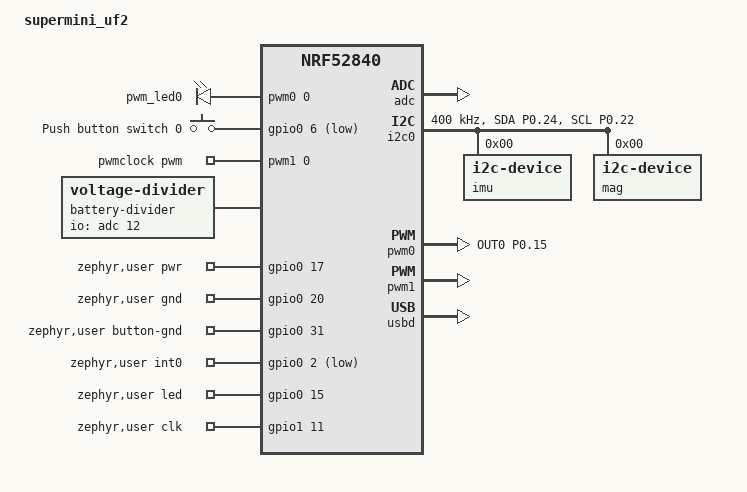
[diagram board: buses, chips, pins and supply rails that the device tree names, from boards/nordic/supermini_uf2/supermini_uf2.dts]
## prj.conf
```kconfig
#CONFIG_NCS_SAMPLES_DEFAULTS
CONFIG_ASSERT=y
CONFIG_ASSERT_NO_COND_INFO=y
CONFIG_ASSERT_NO_MSG_INFO=y
CONFIG_RESET_ON_FATAL_ERROR=y

CONFIG_NCS_APPLICATION_BOOT_BANNER_STRING="SlimeVR-Tracker-nRF"
#CONFIG_NCS_BOOT_BANNER=n
CONFIG_BOOT_BANNER=n

CONFIG_ESB=y
#need to enable for nRF54L
#CONFIG_NRFX_DPPI10=y

CONFIG_ADC=y
CONFIG_ADC_NRFX_SAADC=y
CONFIG_FPU=y
CONFIG_I2C=y
CONFIG_SPI=y
CONFIG_PINCTRL=y
CONFIG_SENSOR=y

CONFIG_CMSIS_DSP=y
CONFIG_CMSIS_DSP_BASICMATH=y
CONFIG_CMSIS_DSP_CONTROLLER=y
CONFIG_CMSIS_DSP_FASTMATH=y
CONFIG_CMSIS_DSP_SUPPORT=y

CONFIG_NVS=y
CONFIG_NVS_LOOKUP_CACHE=y
CONFIG_NVS_INIT_BAD_MEMORY_REGION=y

CONFIG_POWEROFF=y
CONFIG_REBOOT=y

CONFIG_FLASH=y
CONFIG_FLASH_PAGE_LAYOUT=y
CONFIG_FLASH_MAP=y

CONFIG_SETTINGS=y
CONFIG_SETTINGS_RUNTIME=y
CONFIG_SETTINGS_NONE=y

CONFIG_MPU_ALLOW_FLASH_WRITE=y

CONFIG_RETAINED_MEM=y

CONFIG_USE_SEGGER_RTT=y
CONFIG_LOG=y
#CONFIG_PRINTK=y
CONFIG_LOG_MODE_DEFERRED=y
CONFIG_LOG_SPEED=y
CONFIG_LOG_BACKEND_RTT=y
CONFIG_CBPRINTF_FP_SUPPORT=y
CONFIG_ADC_LOG_LEVEL_OFF=y
CONFIG_LOG_FUNC_NAME_PREFIX_ERR=y
CONFIG_LOG_BUFFER_SIZE=1536
CONFIG_LOG_BACKEND_UART_AUTOSTART=n
CONFIG_LOG_PROCESS_THREAD_SLEEP_MS=50
CONFIG_LOG_PROCESS_THREAD_STACK_SIZE=1024

CONFIG_PWM=y
CONFIG_GPIO=y

CONFIG_CRC=y

CONFIG_NEWLIB_LIBC=y
#deprecated?
#CONFIG_NRFX_TIMER1=y

#speed up boot? (use internal rc oscillator)
CONFIG_CLOCK_CONTROL_NRF_K32SRC_RC=y
CONFIG_CLOCK_CONTROL_NRF_K32SRC_RC_CALIBRATION=n
#speed up boot? (synthesize lf clock)
#CONFIG_CLOCK_CONTROL_NRF_K32SRC_SYNTH=y

# dont need it
CONFIG_CRYPTO=n

# set timeout for 25ms, sufficient for ~1000 bytes
CONFIG_I2C_NRFX_TRANSFER_TIMEOUT=25

CONFIG_USB_DEVICE_HID=y
CONFIG_USB_DEVICE_VID=0x1209
CONFIG_USB_DEVICE_PID=0x7692
CONFIG_USB_HID_BOOT_PROTOCOL=y
CONFIG_USB_DEVICE_INITIALIZE_AT_BOOT=n
CONFIG_USB_CDC_ACM=y
CONFIG_UART_INTERRUPT_DRIVEN=y
CONFIG_USB_WORKQUEUE_STACK_SIZE=512

CONFIG_SERIAL=y
CONFIG_CONSOLE=y
CONFIG_RTT_CONSOLE=y
CONFIG_UART_CONSOLE=y
CONFIG_UART_LINE_CTRL=y
# fit "write all <base64:173>"
CONFIG_CONSOLE_INPUT_MAX_LINE_LEN=256

CONFIG_LOG=y
CONFIG_USB_DRIVER_LOG_LEVEL_ERR=y
CONFIG_USB_DEVICE_LOG_LEVEL_ERR=y
CONFIG_USB_CDC_ACM_LOG_LEVEL_OFF=y

CONFIG_LOG_BACKEND_UART=y

CONFIG_CONSOLE_SUBSYS=y
CONFIG_CONSOLE_GETLINE=y

CONFIG_NVS_LOG_LEVEL_WRN=y
CONFIG_USB_HID_LOG_LEVEL_WRN=y

CONFIG_USB_DEVICE_SOF=y
CONFIG_USB_HID_REPORTS=256

#CONFIG_USB_HID_POLL_INTERVAL_MS=1
CONFIG_USB_HID_POLL_INTERVAL_MS=0
CONFIG_HID_INTERRUPT_EP_MPS=64
#CONFIG_ENABLE_HID_INT_OUT_EP=y

CONFIG_SYSTEM_WORKQUEUE_STACK_SIZE=256
CONFIG_MAIN_STACK_SIZE=512
#crashing on nrf54l at 512

CONFIG_THREAD_NAME=y

CONFIG_HEAP_MEM_POOL_SIZE=2048
CONFIG_ISR_STACK_SIZE=1024

CONFIG_PM_DEVICE=y

CONFIG_BASE64=y

#CONFIG_THREAD_ANALYZER=y
#CONFIG_THREAD_ANALYZER_AUTO=y
#CONFIG_THREAD_ANALYZER_AUTO_INTERVAL=5

#about 20KB saved
#CONFIG_LTO=y
#CONFIG_ISR_TABLES_LOCAL_DECLARATION=y
CONFIG_SENSOR_USE_MAG=n
CONFIG_USE_IMU_WAKE_UP=n
```

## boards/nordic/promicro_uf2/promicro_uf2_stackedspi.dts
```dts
// Copyright (c) 2024 Nordic Semiconductor ASA
// SPDX-License-Identifier: Apache-2.0

/dts-v1/;
#include "promicro_uf2.dts"

&pinctrl {
	spi3_default: spi3_default {
		/delete-node/ group1;
		group1 {
			psels = <NRF_PSEL(SPIM_MISO, 0, 11)>,
					<NRF_PSEL(SPIM_MOSI, 0, 24)>,
					<NRF_PSEL(SPIM_SCK, 0, 22)>;
		};
	};

	spi3_sleep: spi3_sleep {
		/delete-node/ group1;
		group1 {
			psels = <NRF_PSEL(SPIM_MISO, 0, 11)>,
					<NRF_PSEL(SPIM_MOSI, 0, 24)>,
					<NRF_PSEL(SPIM_SCK, 0, 22)>;
			low-power-enable;
		};
	};
};

/ {
	buttons {
		/delete-node/ button0;
		button0: button_0 {
			gpios = <&gpio0 29 (GPIO_PULL_DOWN | GPIO_ACTIVE_HIGH)>;
		};
	};

	aliases {
		sw0 = &button0;
	};

	zephyr,user {
		/delete-property/ int0-gpios;
		/delete-property/ vcc-gpios;
		int0-gpios = <&gpio0 2 0>;
		clk-gpios = <&gpio1 11 GPIO_OPEN_DRAIN>;
		vcc-gpios = <&gpio0 17 GPIO_OPEN_SOURCE>;
		gnd-gpios = <&gpio0 20 GPIO_OPEN_DRAIN>;
	};
};

/delete-node/ &i2c0;

&spi3 {
	/delete-property/ cs-gpios;
	cs-gpios = <&gpio1 0 GPIO_ACTIVE_LOW>;
};
```

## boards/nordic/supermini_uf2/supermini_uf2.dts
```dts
// Copyright (c) 2024 Nordic Semiconductor ASA
// SPDX-License-Identifier: Apache-2.0

/dts-v1/;
#include <nordic/nrf52840_qiaa.dtsi>

//move to dtsi?
&pinctrl {
	i2c0_default: i2c0_default {
		group1 {
			psels = <NRF_PSEL(TWIM_SDA, 0, 24)>, <NRF_PSEL(TWIM_SCL, 0, 22)>;
			bias-disable;
		};
	};

	i2c0_sleep: i2c0_sleep {
		group1 {
			psels = <NRF_PSEL(TWIM_SDA, 0, 24)>, <NRF_PSEL(TWIM_SCL, 0, 22)>;
			bias-disable;
			low-power-enable;
		};
	};

	pwm0_default: pwm0_default {
		group1 {
			psels = <NRF_PSEL(PWM_OUT0, 0, 15)>;
			nordic,drive-mode = <NRF_DRIVE_D0S1>;
		};
	};

	pwm0_sleep: pwm0_sleep {
		group1 {
			psels = <NRF_PSEL(PWM_OUT0, 0, 15)>;
			low-power-enable;
		};
	};

	pwm1_default: pwm1_default {
		group1 {
			psels = <NRF_PIN_DISCONNECTED>;
		};
	};

	pwm1_sleep: pwm1_sleep {
		group1 {
			psels = <NRF_PIN_DISCONNECTED>;
			low-power-enable;
		};
	};
};
//end

/ {
	model = "supermini_uf2";
	compatible = "supermini_uf2";

	chosen {
		zephyr,sram = &sram0;
		zephyr,flash = &flash0;
		zephyr,console = &cdc_acm_uart0;
		zephyr,shell-uart = &cdc_acm_uart0;
	};

	pwmleds {
		compatible = "pwm-leds";
		pwm_led0: pwm_led_0 {
			pwms = <&pwm0 0 PWM_MSEC(1) PWM_POLARITY_NORMAL>;
		};
	};

	buttons {
		compatible = "gpio-keys";
		button0: button_0 {
			gpios = <&gpio0 6 (GPIO_PULL_UP | GPIO_ACTIVE_LOW)>;
			label = "Push button switch 0";
		};
	};

	aliases {
		sw0 = &button0; // Uncomment to Enable SW0
		pwm-led0 = &pwm_led0;
	};

	pwmclock: pwmclock {
		compatible = "pwm-clock";
		#clock-cells = <1>;
		pwms = <&pwm1 0 PWM_HZ(32768) PWM_POLARITY_NORMAL>;
	};

	battery-divider {
		compatible = "voltage-divider";
		status = "okay";
		io-channels = <&adc 12>; // Measure VDDHDIV5
		output-ohms = <1>;
		full-ohms = <5>;
	};

	zephyr,user {
		pwr-gpios = <&gpio0 17 GPIO_OPEN_SOURCE>;
        gnd-gpios = <&gpio0 20 GPIO_OPEN_DRAIN>;
		
		button-gnd-gpios = <&gpio0 31 GPIO_OPEN_DRAIN>;

		int0-gpios = <&gpio0 2 (GPIO_ACTIVE_LOW | GPIO_PULL_UP)>;
		led-gpios = <&gpio0 15 GPIO_OPEN_SOURCE>;
		clk-gpios = <&gpio1 11 GPIO_OPEN_DRAIN>; // Uncomment and set to correct pin if using an external clock (crystal oscillator)
	};

};

&reg1 {
	regulator-initial-mode = <NRF5X_REG_MODE_DCDC>;
};

&adc {
	status = "okay";
};

&gpiote {
	status = "okay";
};

&gpio0 {
	status = "okay";
};

&gpio1 {
	status = "okay";
};

&i2c0 {
	compatible = "nordic,nrf-twim";
	status = "okay";
	zephyr,concat-buf-size = <255>; // probable max for nrf52832
	zephyr,flash-buf-max-size = <255>; // probable max for nrf52832
	clock-frequency = <I2C_BITRATE_FAST>;
	pinctrl-0 = <&i2c0_default>;
	pinctrl-1 = <&i2c0_sleep>;
	pinctrl-names = "default", "sleep";

	imu: imu@0 { // any address out of range (00, 7f, etc. will search all addresses and stored address first if available, specify an address here to search first otherwise
		compatible = "i2c-device";
		label = "imu";
		reg = <0>;
	};

	mag: mag@0 {
		compatible = "i2c-device";
		label = "mag";
		reg = <0>;
	};

};

&pwm0 {
	status = "okay";
	pinctrl-0 = <&pwm0_default>;
	pinctrl-1 = <&pwm0_sleep>;
	pinctrl-names = "default", "sleep";
};

&pwm1 {
	status = "okay";
	pinctrl-0 = <&pwm1_default>;
	pinctrl-1 = <&pwm1_sleep>;
	pinctrl-names = "default", "sleep";
};

zephyr_udc0: &usbd {
	compatible = "nordic,nrf-usbd";
	status = "okay";
	cdc_acm_uart0: cdc_acm_uart0 {
		compatible = "zephyr,cdc-acm-uart";
	};
};

&cryptocell {
	status = "disabled";
};

&nfct {
	status = "disabled";
};
```

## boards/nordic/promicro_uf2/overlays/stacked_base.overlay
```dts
// Stacked board overlay configuration for the Supermini UF2 board

// The imu is stacked on top of the supermini_uf2 board
//    Power is provided via GPIO pins (pin 17 as HIGH), (pin 20 as LOW) 
//    CLK  is configured to be adjacent to the CLK_CTL input on the imu
//    INT0 is configured to be adjacent to the INT0    input on the imu


// Configure the button to use GPIO0 pin 6 for stacked configuration
&button0 {
    gpios = <&gpio0 29 (GPIO_PULL_DOWN | GPIO_ACTIVE_HIGH)>;
};


/ {
    // Enable the button 
    aliases {
		sw0 = &button0;
	};
    
	zephyr,user {
        // vcc and ground pins for imu
        vcc_gpios = <&gpio0 17 GPIO_OPEN_SOURCE>;
        gnd_gpios = <&gpio0 20 GPIO_OPEN_DRAIN>;

        // Interrupt adjacent to INT pin on imu (Not required, needed for Wake on Motion (WOM) aka "sleep")
        int0-gpios = <&gpio0 2 0>;

        // Clock adjacent to CLK_CTL pin on imu (comment out to disable)
		clk-gpios = <&gpio1 11 GPIO_OPEN_DRAIN>; 
	};

};
```

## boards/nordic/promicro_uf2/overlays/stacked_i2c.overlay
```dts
#include "stacked_base.overlay"


// Set the I2C pins for stacked
&i2c0_default {
    group1 {
        psels = <NRF_PSEL(TWIM_SDA, 0, 24)>, <NRF_PSEL(TWIM_SCL, 0, 22)>;
    };
};


&i2c0_sleep {
    group1 {
        psels = <NRF_PSEL(TWIM_SDA, 0, 24)>, <NRF_PSEL(TWIM_SCL, 0, 22)>;
    };
};
```

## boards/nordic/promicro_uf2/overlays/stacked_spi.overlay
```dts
#include "stacked_base.overlay"

// Set SPI pins for stacked
&spi3_default {
    group1 {
        psels = <NRF_PSEL(SPIM_MISO, 0, 11)>, // (SDO) SD0 On module
                <NRF_PSEL(SPIM_MOSI, 0, 24)>, // (SDI) SDA On module
                <NRF_PSEL(SPIM_SCK, 0, 22)>;  // SCL On module (Same as i2c clock)
    };
};
&spi3_sleep {
    group1 {
        psels = <NRF_PSEL(SPIM_MISO, 0, 11)>,
                <NRF_PSEL(SPIM_MOSI, 0, 24)>,
                <NRF_PSEL(SPIM_SCK, 0, 22)>;
        low-power-enable;
    };
};
&spi3 {
	cs-gpios = <&gpio1 00 GPIO_ACTIVE_LOW>;
};
```

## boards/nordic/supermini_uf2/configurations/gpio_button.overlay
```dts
// Enable using pin 31 as GND for a button connected to RST

/ {
	zephyr,user {
        button-gnd-gpios = <&gpio0 31 GPIO_ACTIVE_HIGH>;
	};
};
```

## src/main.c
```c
/*
	SlimeVR Code is placed under the MIT license
	Copyright (c) 2025 SlimeVR Contributors

	Permission is hereby granted, free of charge, to any person obtaining a copy
	of this software and associated documentation files (the "Software"), to deal
	in the Software without restriction, including without limitation the rights
	to use, copy, modify, merge, publish, distribute, sublicense, and/or sell
	copies of the Software, and to permit persons to whom the Software is
	furnished to do so, subject to the following conditions:

	The above copyright notice and this permission notice shall be included in
	all copies or substantial portions of the Software.

	THE SOFTWARE IS PROVIDED "AS IS", WITHOUT WARRANTY OF ANY KIND, EXPRESS OR
	IMPLIED, INCLUDING BUT NOT LIMITED TO THE WARRANTIES OF MERCHANTABILITY,
	FITNESS FOR A PARTICULAR PURPOSE AND NONINFRINGEMENT. IN NO EVENT SHALL THE
	AUTHORS OR COPYRIGHT HOLDERS BE LIABLE FOR ANY CLAIM, DAMAGES OR OTHER
	LIABILITY, WHETHER IN AN ACTION OF CONTRACT, TORT OR OTHERWISE, ARISING FROM,
	OUT OF OR IN CONNECTION WITH THE SOFTWARE OR THE USE OR OTHER DEALINGS IN
	THE SOFTWARE.
*/
#include "globals.h"
#include "system/system.h"
//#include "timer.h"
#include "connection/esb.h"
#include "sensor/sensor.h"

#include <zephyr/sys/reboot.h>
#include <zephyr/drivers/gpio.h>
#define ZEPHYR_USER_NODE DT_PATH(zephyr_user)
#if DT_NODE_HAS_PROP(ZEPHYR_USER_NODE, pwr_gpios)
static const struct gpio_dt_spec pwr = GPIO_DT_SPEC_GET(ZEPHYR_USER_NODE, pwr_gpios);
static const struct gpio_dt_spec gnd = GPIO_DT_SPEC_GET(ZEPHYR_USER_NODE, gnd_gpios);
#else
#warning "IMU power pins not defined: do not stack IMU on SUPERMINI"
#endif
#if DT_NODE_HAS_PROP(ZEPHYR_USER_NODE, button_gnd_gpios)
static const struct gpio_dt_spec button_gnd = GPIO_DT_SPEC_GET(ZEPHYR_USER_NODE, button_gnd_gpios);
#else
#warning "Button GND pin not defined: button will not work"
#endif
#define DFU_DBL_RESET_MEM 0x20007F7C
#define DFU_DBL_RESET_APP 0x4ee5677e

uint32_t* dbl_reset_mem = ((uint32_t*)DFU_DBL_RESET_MEM);

LOG_MODULE_REGISTER(main, LOG_LEVEL_INF);

#if DT_NODE_HAS_PROP(DT_ALIAS(sw0), gpios)
#define BUTTON_EXISTS true
#endif

#define DFU_EXISTS CONFIG_BUILD_OUTPUT_UF2 || CONFIG_BOARD_HAS_NRF5_BOOTLOADER
#define ADAFRUIT_BOOTLOADER CONFIG_BUILD_OUTPUT_UF2

int main(void) {
#if DT_NODE_HAS_PROP(ZEPHYR_USER_NODE, pwr_gpios)
    gpio_pin_configure_dt(&gnd, GPIO_OUTPUT_ACTIVE);
    gpio_pin_set_dt(&gnd, 0);
    gpio_pin_configure_dt(&pwr, GPIO_OUTPUT_ACTIVE);
    gpio_pin_set_dt(&pwr, 1);
#endif 
#if DT_NODE_HAS_PROP(ZEPHYR_USER_NODE, button_gnd_gpios)
    gpio_pin_configure_dt(&button_gnd, GPIO_OUTPUT_INACTIVE);
    gpio_pin_set_dt(&button_gnd, 0);
#endif 
#if IGNORE_RESET && BUTTON_EXISTS
	bool reset_pin_reset = false;
#else
#ifdef NRF_RESET
	bool reset_pin_reset = NRF_RESET->RESETREAS & 0x01;
	NRF_RESET->RESETREAS = NRF_RESET->RESETREAS;  // Clear RESETREAS
#else
	bool reset_pin_reset = NRF_POWER->RESETREAS & 0x01;
	NRF_POWER->RESETREAS = NRF_POWER->RESETREAS;  // Clear RESETREAS
#endif
#endif

//	start_time = k_uptime_get(); // Need to get start time for imu startup delay
	set_led(SYS_LED_PATTERN_ON, SYS_LED_PRIORITY_BOOT); // Boot LED

#if ADAFRUIT_BOOTLOADER && !(IGNORE_RESET && BUTTON_EXISTS) // Using Adafruit bootloader
	(*dbl_reset_mem) = DFU_DBL_RESET_APP; // Skip DFU
//	ram_range_retain(dbl_reset_mem, sizeof(dbl_reset_mem), true);
#endif

	uint8_t reboot_counter = reboot_counter_read();
	bool booting_from_shutdown = !reboot_counter && (reset_pin_reset || button_read()); // 0 means from user shutdown or failed ram validation

	if (booting_from_shutdown) {
		set_led(SYS_LED_PATTERN_ONESHOT_POWERON, SYS_LED_PRIORITY_BOOT);
	}

	bool docked = dock_read();

	uint8_t reset_mode = -1;

	if (reboot_counter == 0) {
		reboot_counter = 100;
	} else if (reboot_counter > 200) {
		reboot_counter = 200;  // How did you get here
	}
	reset_mode = reboot_counter - 100;
	if ((reset_pin_reset || button_read())
		&& !docked)  // Count pin resets while not docked
	{
		reboot_counter++;
		reboot_counter_write(reboot_counter);
		LOG_INF("Reset count: %u", reboot_counter);
		k_msleep(1000);  // Wait before clearing counter and continuing
	}
	reboot_counter_write(100);
	if (!reset_pin_reset && !button_read() && reset_mode == 0) // Only need to check once, if the button is pressed again an interrupt is triggered from before
		reset_mode = -1; // Cancel reset_mode (shutdown)

#if USER_SHUTDOWN_ENABLED
	bool charging = chg_read();
	bool charged = stby_read();
	bool plugged = vin_read();

	if (reset_mode == 0 && !booting_from_shutdown && !charging && !charged
		&& !plugged) {  // Reset mode user shutdown, only if unplugged and undocked
		sys_user_shutdown();
	}
#endif

	if (!booting_from_shutdown) {  // ONESHOT_POWERON automatically sets LED off
		set_led(SYS_LED_PATTERN_OFF, SYS_LED_PRIORITY_BOOT);
	}

	sys_reset_mode(reset_mode);

	k_msleep(1
	);  // TODO: fixes some weird issue with the device bootlooping, what is the cause

	clocks_start();

	esb_pair();

	esb_initialize(true);
	//timer_init();
// 1ms to start ESB

	return 0;
}
```
